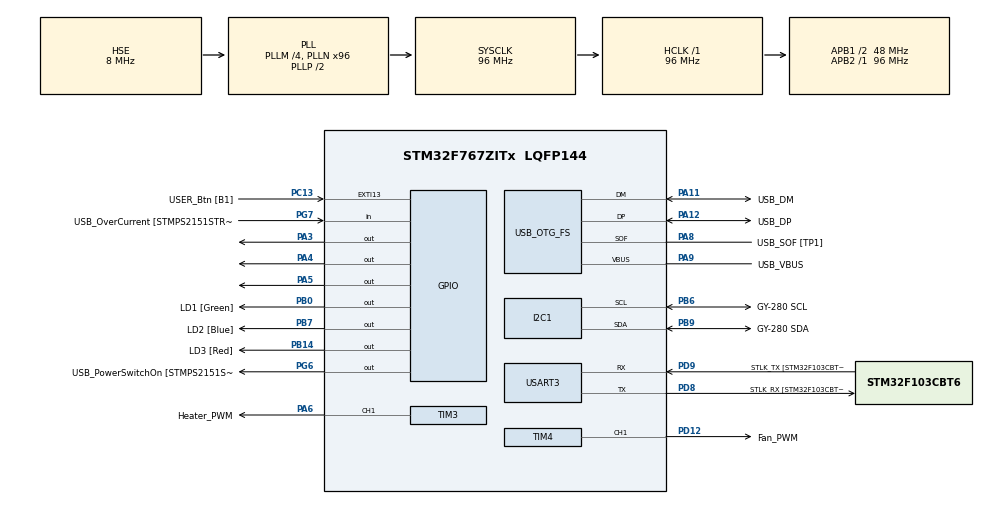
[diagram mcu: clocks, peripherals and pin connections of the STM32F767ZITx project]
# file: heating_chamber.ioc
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I2C1.Timing=0x20303E5D
Mcu.Family=STM32F7
Mcu.Name=STM32F767ZITx
Mcu.Package=LQFP144
NVIC.PriorityGroup=NVIC_PRIORITYGROUP_4
NVIC.TIM2_IRQn=true\:0\:0\:false\:false\:true\:true\:true\:true
NVIC.USART3_IRQn=true\:0\:0\:false\:false\:true\:true\:true\:true
PA10.GPIO_Label=USB_ID
PA10.Signal=USB_OTG_FS_ID
PA11.GPIO_Label=USB_DM
PA11.Mode=Device_Only
PA11.Signal=USB_OTG_FS_DM
PA12.GPIO_Label=USB_DP
PA12.Mode=Device_Only
PA12.Signal=USB_OTG_FS_DP
PA13.GPIO_Label=TMS
PA13.Mode=Serial_Wire
PA13.Signal=SYS_JTMS-SWDIO
PA14.GPIO_Label=TCK
PA14.Mode=Serial_Wire
PA14.Signal=SYS_JTCK-SWCLK
PA3.Signal=GPIO_Output
PA4.Signal=GPIO_Output
PA5.Signal=GPIO_Output
PA6.GPIO_Label=Heater_PWM
PA6.Signal=S_TIM3_CH1
PA7.GPIO_Label=RMII_CRS_DV [LAN8742A-CZ-TR_CRS_DV]
PA7.Signal=ETH_CRS_DV
PA8.GPIO_Label=USB_SOF [TP1]
PA8.Mode=Activate_SOF_FS
PA8.Signal=USB_OTG_FS_SOF
PA9.GPIO_Label=USB_VBUS
PA9.Mode=Activate_VBUS
PA9.Signal=USB_OTG_FS_VBUS
PB0.GPIO_Label=LD1 [Green]
PB0.Signal=GPIO_Output
PB13.GPIO_Label=RMII_TXD1 [LAN8742A-CZ-TR_TXD1]
PB13.Signal=ETH_TXD1
PB14.GPIO_Label=LD3 [Red]
PB14.Signal=GPIO_Output
PB3.GPIO_Label=SWO
PB3.Signal=SYS_JTDO-SWO
PB6.GPIO_Label=GY-280 SCL
PB6.Mode=I2C
PB6.Signal=I2C1_SCL
PB7.GPIO_Label=LD2 [Blue]
PB7.Signal=GPIO_Output
PB9.GPIO_Label=GY-280 SDA
PB9.Mode=I2C
PB9.Signal=I2C1_SDA
PC1.GPIO_Label=RMII_MDC [LAN8742A-CZ-TR_MDC]
PC1.Signal=ETH_MDC
PC13.GPIO_Label=USER_Btn [B1]
PC13.Signal=GPXTI13
PC14/OSC32_IN.Mode=LSE-External-Oscillator
PC14/OSC32_IN.Signal=RCC_OSC32_IN
PC15/OSC32_OUT.Mode=LSE-External-Oscillator
PC15/OSC32_OUT.Signal=RCC_OSC32_OUT
PC4.GPIO_Label=RMII_RXD0 [LAN8742A-CZ-TR_RXD0]
PC4.Signal=ETH_RXD0
PC5.GPIO_Label=RMII_RXD1 [LAN8742A-CZ-TR_RXD1]
PC5.Signal=ETH_RXD1
PD12.GPIO_Label=Fan_PWM
PD12.Signal=S_TIM4_CH1
PD8.GPIO_Label=STLK_RX [STM32F103CBT6_PA3]
PD8.Mode=Asynchronous
PD8.Signal=USART3_TX
PD9.GPIO_Label=STLK_TX [STM32F103CBT6_PA2]
PD9.Mode=Asynchronous
PD9.Signal=USART3_RX
PG11.GPIO_Label=RMII_TX_EN [LAN8742A-CZ-TR_TXEN]
PG11.Signal=ETH_TX_EN
PG13.GPIO_Label=RMII_TXD0 [LAN8742A-CZ-TR_TXD0]
PG13.Signal=ETH_TXD0
PG6.GPIO_Label=USB_PowerSwitchOn [STMPS2151STR_EN]
PG6.Signal=GPIO_Output
PG7.GPIO_Label=USB_OverCurrent [STMPS2151STR_FAULT]
PG7.Signal=GPIO_Input
PH0/OSC_IN.GPIO_Label=MCO [STM32F103CBT6_PA8]
PH0/OSC_IN.Mode=HSE-External-Clock-Source
PH0/OSC_IN.Signal=RCC_OSC_IN
PH1/OSC_OUT.Mode=HSE-External-Clock-Source
PH1/OSC_OUT.Signal=RCC_OSC_OUT
ProjectManager.HeapSize=0x200
ProjectManager.StackSize=0x400
ProjectManager.TargetToolchain=STM32CubeIDE
RCC.48MHZClocksFreq_Value=24000000
RCC.AHBFreq_Value=96000000
RCC.APB1CLKDivider=RCC_HCLK_DIV2
RCC.APB1Freq_Value=48000000
RCC.APB1TimFreq_Value=96000000
RCC.APB2Freq_Value=96000000
RCC.APB2TimFreq_Value=96000000
RCC.CortexFreq_Value=96000000
RCC.HCLKFreq_Value=96000000
RCC.HSE_VALUE=8000000
RCC.HSI_VALUE=16000000
RCC.PLLM=4
RCC.PLLMUL=RCC_PLL_MUL9
RCC.PLLN=96
RCC.PLLQ=4
RCC.PRESCALERUSB=RCC_USBCLKSOURCE_PLL_DIV1_5
RCC.SYSCLKFreq_VALUE=96000000
RCC.SYSCLKSource=RCC_SYSCLKSOURCE_PLLCLK
RCC.SYSCLKSourceVirtual=RCC_SYSCLKSOURCE_PLLCLK
RCC.USBFreq_Value=48000000
RCC.VCOOutputFreq_Value=192000000
SH.S_TIM3_CH1.0=TIM3_CH1,PWM Generation1 CH1
SH.S_TIM4_CH1.0=TIM4_CH1,PWM Generation1 CH1
TIM2.Period=1999
TIM2.Prescaler=9599
TIM3.Channel-PWM\ Generation1\ CH1=TIM_CHANNEL_1
TIM3.Period=999
TIM3.Prescaler=47
TIM4.Channel-PWM\ Generation1\ CH1=TIM_CHANNEL_1
TIM4.Period=39
TIM4.Prescaler=47
USART3.VirtualMode-Asynchronous=VM_ASYNC
USB_OTG_FS.VirtualMode=Device_Only
VP_TIM2_VS_ClockSourceINT.Mode=Internal
VP_TIM3_VS_ClockSourceINT.Mode=Internal
VP_TIM4_VS_ClockSourceINT.Mode=Internal
board=NUCLEO-F767ZI

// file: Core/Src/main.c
/* USER CODE BEGIN Header */
/**
  ******************************************************************************
  * @file           : main.c
  * @brief          : Main program body
  ******************************************************************************
  * @attention
  *
  * Copyright (c) 2025 STMicroelectronics.
  * All rights reserved.
  *
  * This software is licensed under terms that can be found in the LICENSE file
  * in the root directory of this software component.
  * If no LICENSE file comes with this software, it is provided AS-IS.
  *
  ******************************************************************************
  */
/* USER CODE END Header */
#include "main.h"

/* USER CODE BEGIN Includes */
#include <stdio.h>

#include "paramGetSet.h"
#include "uartGetSend.h"
#include "tempControl.h"

/* USER CODE END Includes */

I2C_HandleTypeDef hi2c1;

TIM_HandleTypeDef htim2;
TIM_HandleTypeDef htim3;
TIM_HandleTypeDef htim4;

UART_HandleTypeDef huart3;

PCD_HandleTypeDef hpcd_USB_OTG_FS;

void SystemClock_Config(void);
static void MX_GPIO_Init(void);
static void MX_USART3_UART_Init(void);
static void MX_USB_OTG_FS_PCD_Init(void);
static void MX_TIM3_Init(void);
static void MX_TIM4_Init(void);
static void MX_I2C1_Init(void);
static void MX_TIM2_Init(void);

int main(void)
{

  /* MCU Configuration--------------------------------------------------------*/

  /* Reset of all peripherals, Initializes the Flash interface and the Systick. */
  HAL_Init();

  /* Configure the system clock */
  SystemClock_Config();

  /* Initialize all configured peripherals */
  MX_GPIO_Init();
  MX_USART3_UART_Init();
  MX_USB_OTG_FS_PCD_Init();
  MX_TIM3_Init();
  MX_TIM4_Init();
  MX_I2C1_Init();
  MX_TIM2_Init();
  /* USER CODE BEGIN 2 */
  HAL_TIM_PWM_Start(&htim3, TIM_CHANNEL_1);
  HAL_TIM_PWM_Start(&htim4, TIM_CHANNEL_1);

  HAL_UART_Init(&huart3);
  HAL_UART_Receive_IT(&huart3, receivedBytes, MAX_CMD_LEN);

  BMP280_CalibrationParamRead();
  HAL_TIM_Base_Start(&htim2);

 int counter =0;
  /* USER CODE END 2 */

  /* Infinite loop */
  /* USER CODE BEGIN WHILE */
  while (1)
  {
	  if (__HAL_TIM_GET_FLAG(&htim2, TIM_FLAG_UPDATE) == SET) {
	     __HAL_TIM_CLEAR_FLAG(&htim2, TIM_FLAG_UPDATE);
	     actualTemperature = BMP280_GetTempData();
	     PID_Control();
	     counter++;
	  }
	  if (counter ==5){
	  	 UART_TargetActual_Json(&actualTemperature, &targetTemperature, &outputHeater, &outputFan);
	  	 counter = 0;
	  }
    /* USER CODE END WHILE */

  }
}

void SystemClock_Config(void)
{
  RCC_OscInitTypeDef RCC_OscInitStruct = {0};
  RCC_ClkInitTypeDef RCC_ClkInitStruct = {0};

  /** Configure LSE Drive Capability
  */
  HAL_PWR_EnableBkUpAccess();

  /** Configure the main internal regulator output voltage
  */
  __HAL_RCC_PWR_CLK_ENABLE();
  __HAL_PWR_VOLTAGESCALING_CONFIG(PWR_REGULATOR_VOLTAGE_SCALE3);

  /** Initializes the RCC Oscillators according to the specified parameters
  * in the RCC_OscInitTypeDef structure.
  */
  RCC_OscInitStruct.OscillatorType = RCC_OSCILLATORTYPE_HSE;
  RCC_OscInitStruct.HSEState = RCC_HSE_BYPASS;
  RCC_OscInitStruct.PLL.PLLState = RCC_PLL_ON;
  RCC_OscInitStruct.PLL.PLLSource = RCC_PLLSOURCE_HSE;
  RCC_OscInitStruct.PLL.PLLM = 4;
  RCC_OscInitStruct.PLL.PLLN = 96;
  RCC_OscInitStruct.PLL.PLLP = RCC_PLLP_DIV2;
  RCC_OscInitStruct.PLL.PLLQ = 4;
  RCC_OscInitStruct.PLL.PLLR = 2;
  if (HAL_RCC_OscConfig(&RCC_OscInitStruct) != HAL_OK)
  {
    Error_Handler();
  }

  /** Activate the Over-Drive mode
  */
  if (HAL_PWREx_EnableOverDrive() != HAL_OK)
  {
    Error_Handler();
  }

  /** Initializes the CPU, AHB and APB buses clocks
  */
  RCC_ClkInitStruct.ClockType = RCC_CLOCKTYPE_HCLK|RCC_CLOCKTYPE_SYSCLK
                              |RCC_CLOCKTYPE_PCLK1|RCC_CLOCKTYPE_PCLK2;
  RCC_ClkInitStruct.SYSCLKSource = RCC_SYSCLKSOURCE_PLLCLK;
  RCC_ClkInitStruct.AHBCLKDivider = RCC_SYSCLK_DIV1;
  RCC_ClkInitStruct.APB1CLKDivider = RCC_HCLK_DIV2;
  RCC_ClkInitStruct.APB2CLKDivider = RCC_HCLK_DIV1;

  if (HAL_RCC_ClockConfig(&RCC_ClkInitStruct, FLASH_LATENCY_3) != HAL_OK)
  {
    Error_Handler();
  }
}

static void MX_I2C1_Init(void)
{

  hi2c1.Instance = I2C1;
  hi2c1.Init.Timing = 0x20303E5D;
  hi2c1.Init.OwnAddress1 = 0;
  hi2c1.Init.AddressingMode = I2C_ADDRESSINGMODE_7BIT;
  hi2c1.Init.DualAddressMode = I2C_DUALADDRESS_DISABLE;
  hi2c1.Init.OwnAddress2 = 0;
  hi2c1.Init.OwnAddress2Masks = I2C_OA2_NOMASK;
  hi2c1.Init.GeneralCallMode = I2C_GENERALCALL_DISABLE;
  hi2c1.Init.NoStretchMode = I2C_NOSTRETCH_DISABLE;
  if (HAL_I2C_Init(&hi2c1) != HAL_OK)
  {
    Error_Handler();
  }

  /** Configure Analogue filter
  */
  if (HAL_I2CEx_ConfigAnalogFilter(&hi2c1, I2C_ANALOGFILTER_ENABLE) != HAL_OK)
  {
    Error_Handler();
  }

  /** Configure Digital filter
  */
  if (HAL_I2CEx_ConfigDigitalFilter(&hi2c1, 0) != HAL_OK)
  {
    Error_Handler();
  }

}

static void MX_TIM2_Init(void)
{

  TIM_ClockConfigTypeDef sClockSourceConfig = {0};
  TIM_MasterConfigTypeDef sMasterConfig = {0};

  htim2.Instance = TIM2;
  htim2.Init.Prescaler = 9599;
  htim2.Init.CounterMode = TIM_COUNTERMODE_UP;
  htim2.Init.Period = 1999;
  htim2.Init.ClockDivision = TIM_CLOCKDIVISION_DIV1;
  htim2.Init.AutoReloadPreload = TIM_AUTORELOAD_PRELOAD_DISABLE;
  if (HAL_TIM_Base_Init(&htim2) != HAL_OK)
  {
    Error_Handler();
  }
  sClockSourceConfig.ClockSource = TIM_CLOCKSOURCE_INTERNAL;
  if (HAL_TIM_ConfigClockSource(&htim2, &sClockSourceConfig) != HAL_OK)
  {
    Error_Handler();
  }
  sMasterConfig.MasterOutputTrigger = TIM_TRGO_RESET;
  sMasterConfig.MasterSlaveMode = TIM_MASTERSLAVEMODE_DISABLE;
  if (HAL_TIMEx_MasterConfigSynchronization(&htim2, &sMasterConfig) != HAL_OK)
  {
    Error_Handler();
  }

}

static void MX_TIM3_Init(void)
{

  TIM_ClockConfigTypeDef sClockSourceConfig = {0};
  TIM_MasterConfigTypeDef sMasterConfig = {0};
  TIM_OC_InitTypeDef sConfigOC = {0};

  htim3.Instance = TIM3;
  htim3.Init.Prescaler = 47;
  htim3.Init.CounterMode = TIM_COUNTERMODE_UP;
  htim3.Init.Period = 999;
  htim3.Init.ClockDivision = TIM_CLOCKDIVISION_DIV1;
  htim3.Init.AutoReloadPreload = TIM_AUTORELOAD_PRELOAD_DISABLE;
  if (HAL_TIM_Base_Init(&htim3) != HAL_OK)
  {
    Error_Handler();
  }
  sClockSourceConfig.ClockSource = TIM_CLOCKSOURCE_INTERNAL;
  if (HAL_TIM_ConfigClockSource(&htim3, &sClockSourceConfig) != HAL_OK)
  {
    Error_Handler();
  }
  if (HAL_TIM_PWM_Init(&htim3) != HAL_OK)
  {
    Error_Handler();
  }
  sMasterConfig.MasterOutputTrigger = TIM_TRGO_RESET;
  sMasterConfig.MasterSlaveMode = TIM_MASTERSLAVEMODE_DISABLE;
  if (HAL_TIMEx_MasterConfigSynchronization(&htim3, &sMasterConfig) != HAL_OK)
  {
    Error_Handler();
  }
  sConfigOC.OCMode = TIM_OCMODE_PWM1;
  sConfigOC.Pulse = 0;
  sConfigOC.OCPolarity = TIM_OCPOLARITY_HIGH;
  sConfigOC.OCFastMode = TIM_OCFAST_DISABLE;
  if (HAL_TIM_PWM_ConfigChannel(&htim3, &sConfigOC, TIM_CHANNEL_1) != HAL_OK)
  {
    Error_Handler();
  }
  HAL_TIM_MspPostInit(&htim3);

}

static void MX_TIM4_Init(void)
{

  TIM_ClockConfigTypeDef sClockSourceConfig = {0};
  TIM_MasterConfigTypeDef sMasterConfig = {0};
  TIM_OC_InitTypeDef sConfigOC = {0};

  htim4.Instance = TIM4;
  htim4.Init.Prescaler = 47;
  htim4.Init.CounterMode = TIM_COUNTERMODE_UP;
  htim4.Init.Period = 39;
  htim4.Init.ClockDivision = TIM_CLOCKDIVISION_DIV1;
  htim4.Init.AutoReloadPreload = TIM_AUTORELOAD_PRELOAD_DISABLE;
  if (HAL_TIM_Base_Init(&htim4) != HAL_OK)
  {
    Error_Handler();
  }
  sClockSourceConfig.ClockSource = TIM_CLOCKSOURCE_INTERNAL;
  if (HAL_TIM_ConfigClockSource(&htim4, &sClockSourceConfig) != HAL_OK)
  {
    Error_Handler();
  }
  if (HAL_TIM_PWM_Init(&htim4) != HAL_OK)
  {
    Error_Handler();
  }
  sMasterConfig.MasterOutputTrigger = TIM_TRGO_RESET;
  sMasterConfig.MasterSlaveMode = TIM_MASTERSLAVEMODE_DISABLE;
  if (HAL_TIMEx_MasterConfigSynchronization(&htim4, &sMasterConfig) != HAL_OK)
  {
    Error_Handler();
  }
  sConfigOC.OCMode = TIM_OCMODE_PWM1;
  sConfigOC.Pulse = 0;
  sConfigOC.OCPolarity = TIM_OCPOLARITY_HIGH;
  sConfigOC.OCFastMode = TIM_OCFAST_DISABLE;
  if (HAL_TIM_PWM_ConfigChannel(&htim4, &sConfigOC, TIM_CHANNEL_1) != HAL_OK)
  {
    Error_Handler();
  }
  HAL_TIM_MspPostInit(&htim4);

}

static void MX_USART3_UART_Init(void)
{

  huart3.Instance = USART3;
  huart3.Init.BaudRate = 115200;
  huart3.Init.WordLength = UART_WORDLENGTH_8B;
  huart3.Init.StopBits = UART_STOPBITS_1;
  huart3.Init.Parity = UART_PARITY_NONE;
  huart3.Init.Mode = UART_MODE_TX_RX;
  huart3.Init.HwFlowCtl = UART_HWCONTROL_NONE;
  huart3.Init.OverSampling = UART_OVERSAMPLING_16;
  huart3.Init.OneBitSampling = UART_ONE_BIT_SAMPLE_DISABLE;
  huart3.AdvancedInit.AdvFeatureInit = UART_ADVFEATURE_NO_INIT;
  if (HAL_UART_Init(&huart3) != HAL_OK)
  {
    Error_Handler();
  }

}

static void MX_USB_OTG_FS_PCD_Init(void)
{

  hpcd_USB_OTG_FS.Instance = USB_OTG_FS;
  hpcd_USB_OTG_FS.Init.dev_endpoints = 6;
  hpcd_USB_OTG_FS.Init.speed = PCD_SPEED_FULL;
  hpcd_USB_OTG_FS.Init.dma_enable = DISABLE;
  hpcd_USB_OTG_FS.Init.phy_itface = PCD_PHY_EMBEDDED;
  hpcd_USB_OTG_FS.Init.Sof_enable = ENABLE;
  hpcd_USB_OTG_FS.Init.low_power_enable = DISABLE;
  hpcd_USB_OTG_FS.Init.lpm_enable = DISABLE;
  hpcd_USB_OTG_FS.Init.vbus_sensing_enable = ENABLE;
  hpcd_USB_OTG_FS.Init.use_dedicated_ep1 = DISABLE;
  if (HAL_PCD_Init(&hpcd_USB_OTG_FS) != HAL_OK)
  {
    Error_Handler();
  }

}

static void MX_GPIO_Init(void)
{
  GPIO_InitTypeDef GPIO_InitStruct = {0};

  /* GPIO Ports Clock Enable */
  __HAL_RCC_GPIOC_CLK_ENABLE();
  __HAL_RCC_GPIOH_CLK_ENABLE();
  __HAL_RCC_GPIOA_CLK_ENABLE();
  __HAL_RCC_GPIOB_CLK_ENABLE();
  __HAL_RCC_GPIOD_CLK_ENABLE();
  __HAL_RCC_GPIOG_CLK_ENABLE();

  /*Configure GPIO pin Output Level */
  HAL_GPIO_WritePin(GPIOA, GPIO_PIN_3|GPIO_PIN_4|GPIO_PIN_5, GPIO_PIN_RESET);

  /*Configure GPIO pin Output Level */
  HAL_GPIO_WritePin(GPIOB, LD1_Pin|LD3_Pin|LD2_Pin, GPIO_PIN_RESET);

  /*Configure GPIO pin Output Level */
  HAL_GPIO_WritePin(USB_PowerSwitchOn_GPIO_Port, USB_PowerSwitchOn_Pin, GPIO_PIN_RESET);

  /*Configure GPIO pin : USER_Btn_Pin */
  GPIO_InitStruct.Pin = USER_Btn_Pin;
  GPIO_InitStruct.Mode = GPIO_MODE_IT_RISING;
  GPIO_InitStruct.Pull = GPIO_NOPULL;
  HAL_GPIO_Init(USER_Btn_GPIO_Port, &GPIO_InitStruct);

  /*Configure GPIO pins : RMII_MDC_Pin RMII_RXD0_Pin RMII_RXD1_Pin */
  GPIO_InitStruct.Pin = RMII_MDC_Pin|RMII_RXD0_Pin|RMII_RXD1_Pin;
  GPIO_InitStruct.Mode = GPIO_MODE_AF_PP;
  GPIO_InitStruct.Pull = GPIO_NOPULL;
  GPIO_InitStruct.Speed = GPIO_SPEED_FREQ_VERY_HIGH;
  GPIO_InitStruct.Alternate = GPIO_AF11_ETH;
  HAL_GPIO_Init(GPIOC, &GPIO_InitStruct);

  /*Configure GPIO pins : PA3 PA4 PA5 */
  GPIO_InitStruct.Pin = GPIO_PIN_3|GPIO_PIN_4|GPIO_PIN_5;
  GPIO_InitStruct.Mode = GPIO_MODE_OUTPUT_PP;
  GPIO_InitStruct.Pull = GPIO_NOPULL;
  GPIO_InitStruct.Speed = GPIO_SPEED_FREQ_LOW;
  HAL_GPIO_Init(GPIOA, &GPIO_InitStruct);

  /*Configure GPIO pin : RMII_CRS_DV_Pin */
  GPIO_InitStruct.Pin = RMII_CRS_DV_Pin;
  GPIO_InitStruct.Mode = GPIO_MODE_AF_PP;
  GPIO_InitStruct.Pull = GPIO_NOPULL;
  GPIO_InitStruct.Speed = GPIO_SPEED_FREQ_VERY_HIGH;
  GPIO_InitStruct.Alternate = GPIO_AF11_ETH;
  HAL_GPIO_Init(RMII_CRS_DV_GPIO_Port, &GPIO_InitStruct);

  /*Configure GPIO pins : LD1_Pin LD3_Pin LD2_Pin */
  GPIO_InitStruct.Pin = LD1_Pin|LD3_Pin|LD2_Pin;
  GPIO_InitStruct.Mode = GPIO_MODE_OUTPUT_PP;
  GPIO_InitStruct.Pull = GPIO_NOPULL;
  GPIO_InitStruct.Speed = GPIO_SPEED_FREQ_LOW;
  HAL_GPIO_Init(GPIOB, &GPIO_InitStruct);

  /*Configure GPIO pin : RMII_TXD1_Pin */
  GPIO_InitStruct.Pin = RMII_TXD1_Pin;
  GPIO_InitStruct.Mode = GPIO_MODE_AF_PP;
  GPIO_InitStruct.Pull = GPIO_NOPULL;
  GPIO_InitStruct.Speed = GPIO_SPEED_FREQ_VERY_HIGH;
  GPIO_InitStruct.Alternate = GPIO_AF11_ETH;
  HAL_GPIO_Init(RMII_TXD1_GPIO_Port, &GPIO_InitStruct);

  /*Configure GPIO pin : USB_PowerSwitchOn_Pin */
  GPIO_InitStruct.Pin = USB_PowerSwitchOn_Pin;
  GPIO_InitStruct.Mode = GPIO_MODE_OUTPUT_PP;
  GPIO_InitStruct.Pull = GPIO_NOPULL;
  GPIO_InitStruct.Speed = GPIO_SPEED_FREQ_LOW;
  HAL_GPIO_Init(USB_PowerSwitchOn_GPIO_Port, &GPIO_InitStruct);

  /*Configure GPIO pin : USB_OverCurrent_Pin */
  GPIO_InitStruct.Pin = USB_OverCurrent_Pin;
  GPIO_InitStruct.Mode = GPIO_MODE_INPUT;
  GPIO_InitStruct.Pull = GPIO_NOPULL;
  HAL_GPIO_Init(USB_OverCurrent_GPIO_Port, &GPIO_InitStruct);

  /*Configure GPIO pins : RMII_TX_EN_Pin RMII_TXD0_Pin */
  GPIO_InitStruct.Pin = RMII_TX_EN_Pin|RMII_TXD0_Pin;
  GPIO_InitStruct.Mode = GPIO_MODE_AF_PP;
  GPIO_InitStruct.Pull = GPIO_NOPULL;
  GPIO_InitStruct.Speed = GPIO_SPEED_FREQ_VERY_HIGH;
  GPIO_InitStruct.Alternate = GPIO_AF11_ETH;
  HAL_GPIO_Init(GPIOG, &GPIO_InitStruct);

}

void Error_Handler(void)
{
  __disable_irq();
  while (1)
  {
  }
}
